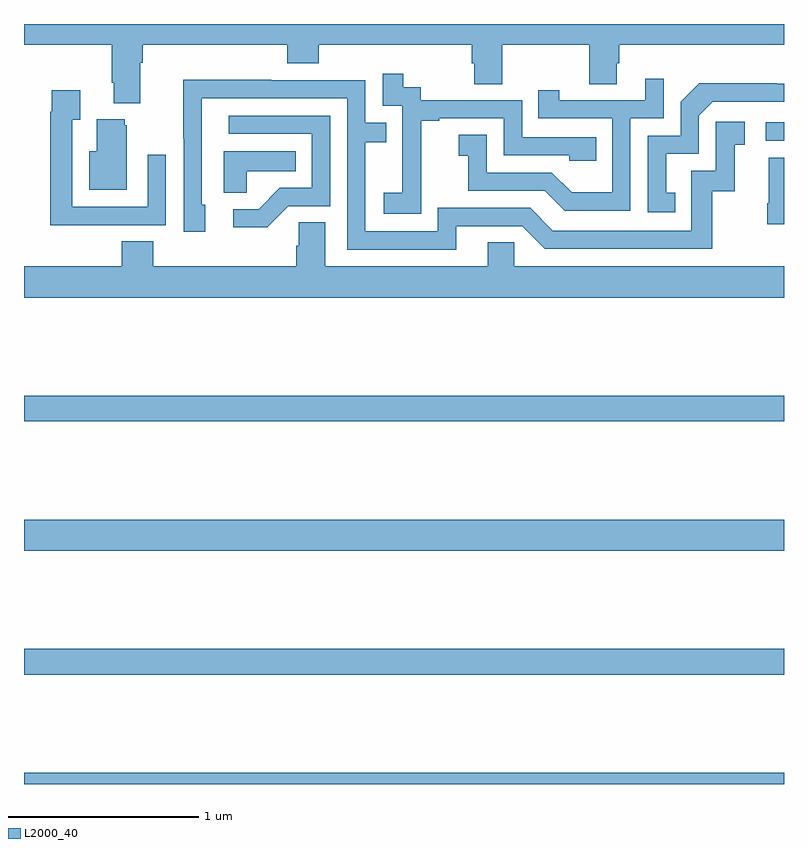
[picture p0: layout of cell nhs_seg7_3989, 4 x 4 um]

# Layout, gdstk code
import gdstk
lib = gdstk.Library(unit=1e-6, precision=1e-09)
def R(c, l, rs):  # rectangles x0, y0, x1, y1
    for r in rs: c.add(gdstk.rectangle(r[:2], r[2:], *l))
def P(c, l, *ps):  # polygons
    for p in ps: c.add(gdstk.Polygon(p, *l))
L2000_40 = (2000, 40)

nhs_seg7_3989 = lib.new_cell('nhs_seg7_3989')
R(nhs_seg7_3989, L2000_40, [(363,1054,367,1054.06), (363,1054.576,367,1054.712), (363,1055.228,367,1055.392), (363,1055.908,367,1056.044), (366.903,1057.386,367,1057.482)])
P(nhs_seg7_3989, L2000_40, [(363.613,1057.796),(363.626,1057.796),(363.626,1057.892),(364.385,1057.892),(364.385,1057.793),(364.55,1057.793),(364.55,1057.892),(365.357,1057.892),(365.357,1057.794),(365.369,1057.794),(365.369,1057.684),(365.517,1057.684),(365.517,1057.892),(365.974,1057.892),(365.974,1057.684),(366.121,1057.684),(366.121,1057.794),(366.134,1057.794),(366.134,1057.892),(367,1057.892),(367,1058),(363,1058),(363,1057.892),(363.461,1057.892),(363.461,1057.69),(363.473,1057.69),(363.473,1057.583),(363.613,1057.583)],
  [(365.091,1057.207),(365.09,1057.207),(365.09,1057.491),(365.185,1057.491),(365.185,1057.503),(365.526,1057.503),(365.526,1057.308),(365.871,1057.308),(365.871,1057.281),(366.011,1057.281),(366.011,1057.404),(365.622,1057.404),(365.622,1057.599),(365.088,1057.599),(365.088,1057.668),(364.996,1057.668),(364.996,1057.738),(364.887,1057.738),(364.887,1057.569),(364.992,1057.569),(364.992,1057.34),(364.991,1057.34),(364.991,1057.111),(364.893,1057.111),(364.893,1057.001),(365.091,1057.001)],
  [(366.192,1057.503),(366.366,1057.503),(366.366,1057.711),(366.269,1057.711),(366.269,1057.599),(365.818,1057.599),(365.818,1057.651),(365.707,1057.651),(365.707,1057.503),(366.096,1057.503),(366.096,1057.114),(365.882,1057.114),(365.778,1057.218),(365.436,1057.218),(365.436,1057.417),(365.289,1057.417),(365.289,1057.307),(365.338,1057.307),(365.338,1057.122),(365.741,1057.122),(365.846,1057.017),(366.192,1057.017)],
  [(365.275,1056.936),(365.622,1056.936),(365.742,1056.816),(366.622,1056.816),(366.622,1057.119),(366.74,1057.119),(366.74,1057.365),(366.793,1057.365),(366.793,1057.486),(366.642,1057.486),(366.642,1057.227),(366.513,1057.227),(366.513,1056.912),(365.784,1056.912),(365.664,1057.032),(365.178,1057.032),(365.178,1056.909),(364.797,1056.909),(364.797,1057.378),(364.907,1057.378),(364.907,1057.479),(364.797,1057.479),(364.797,1057.704),(364.301,1057.704),(364.301,1057.706),(363.838,1057.706),(363.838,1057.399),(363.84,1057.399),(363.84,1056.906),(363.955,1056.906),(363.955,1057.05),(363.936,1057.05),(363.936,1057.608),(364.701,1057.608),(364.701,1056.813),(365.275,1056.813)],
  [(366.428,1057.113),(366.379,1057.113),(366.379,1057.317),(366.552,1057.317),(366.552,1057.518),(366.624,1057.59),(367,1057.59),(367,1057.686),(366.962,1057.686),(366.962,1057.688),(366.554,1057.688),(366.456,1057.59),(366.456,1057.413),(366.282,1057.413),(366.282,1057.008),(366.428,1057.008)],
  [(363.431,1056.942),(363.747,1056.942),(363.747,1057.312),(363.651,1057.312),(363.651,1057.038),(363.255,1057.038),(363.255,1057.495),(363.295,1057.495),(363.295,1057.651),(363.147,1057.651),(363.147,1057.538),(363.139,1057.538),(363.139,1056.941),(363.431,1056.941)],
  [(364.392,1057.041),(364.611,1057.041),(364.611,1057.518),(364.077,1057.518),(364.077,1057.422),(364.515,1057.422),(364.515,1057.137),(364.346,1057.137),(364.235,1057.026),(364.101,1057.026),(364.101,1056.929),(364.279,1056.929)],
  [(363.541,1057.467),(363.53,1057.467),(363.53,1057.498),(363.383,1057.498),(363.383,1057.33),(363.344,1057.33),(363.344,1057.127),(363.541,1057.127)],
  [(364.173,1057.226),(364.43,1057.226),(364.43,1057.33),(364.052,1057.33),(364.052,1057.111),(364.173,1057.111)],
  [(367,1057.297),(366.92,1057.297),(366.92,1057.057),(366.913,1057.057),(366.913,1056.945),(367,1056.945)],
  [(367,1056.724),(365.58,1056.724),(365.58,1056.851),(365.441,1056.851),(365.441,1056.724),(364.585,1056.724),(364.585,1056.956),(364.446,1056.956),(364.446,1056.833),(364.433,1056.833),(364.433,1056.724),(363.68,1056.724),(363.68,1056.857),(363.515,1056.857),(363.515,1056.724),(363,1056.724),(363,1056.56),(367,1056.56)])

lib.write_gds('nhs_seg7_3989.gds')
